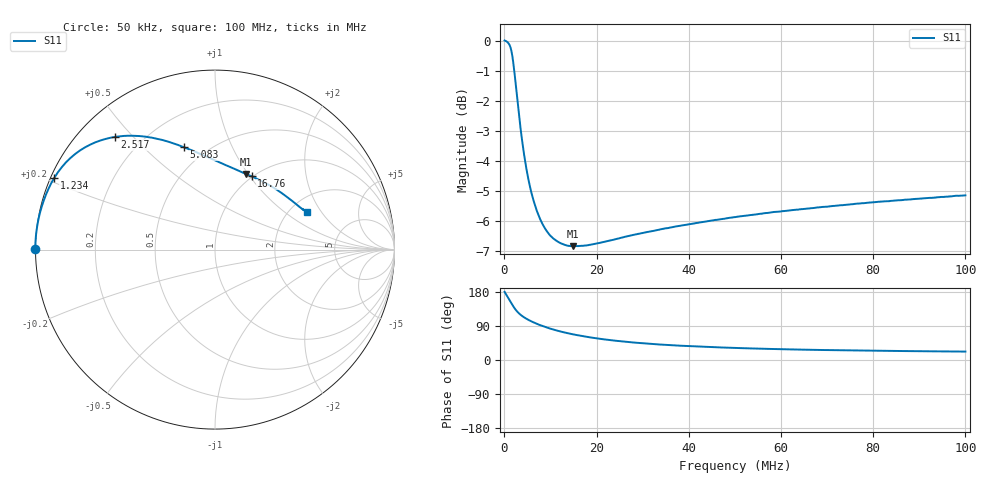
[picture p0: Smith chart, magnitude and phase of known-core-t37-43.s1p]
# HZ S RI R 50
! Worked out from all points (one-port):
!   1010 points, 50 kHz to 100 MHz, reference 50 ohm
!   lowest |S11| = -6.8 dB at 14.87 MHz (marker M1), VSWR 2.67, Z = 45.9 + j48.9 ohm
!   |S11| at or under -10 dB: nowhere
!   S11 on the Smith chart (normalised r, x): 50 kHz: -0.00, +0.00; 1.234 MHz: 0.01, +0.21; 2.517 MHz: 0.10, +0.45; 5.083 MHz: 0.38, +0.67; 16.76 MHz: 0.99, +1.02; 100 MHz: 2.46, +1.49
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50000  -1.002 0.00389
346000  -0.9936 0.1106
642100  -0.9739 0.2101
938200  -0.9416 0.3068
1234300  -0.8954 0.3996
1629100  -0.8063 0.5097
1925200  -0.7235 0.57
2221300  -0.6379 0.6081
2517400  -0.557 0.628
3010900  -0.4421 0.6337
3603100  -0.3365 0.6204
4294000  -0.2467 0.5969
5083500  -0.1718 0.57
6169200  -0.0968 0.5393
7945800  -0.00983 0.5016
1.01179e7  0.0643 0.4689
1.25954e7  0.1271 0.4416
1.48747e7  0.1724 0.4219
1.67575e7  0.2039 0.4081
2.07214e7  0.2587 0.3822
2.50817e7  0.3048 0.3579
3.073029e7  0.3491 0.3307
3.756809e7  0.3873 0.3036
5.005449e7  0.4327 0.2688
6.254079e7  0.4626 0.2447
7.502719e7  0.4837 0.2283
8.751348e7  0.4997 0.2169
9.999988e7  0.5125 0.2094
